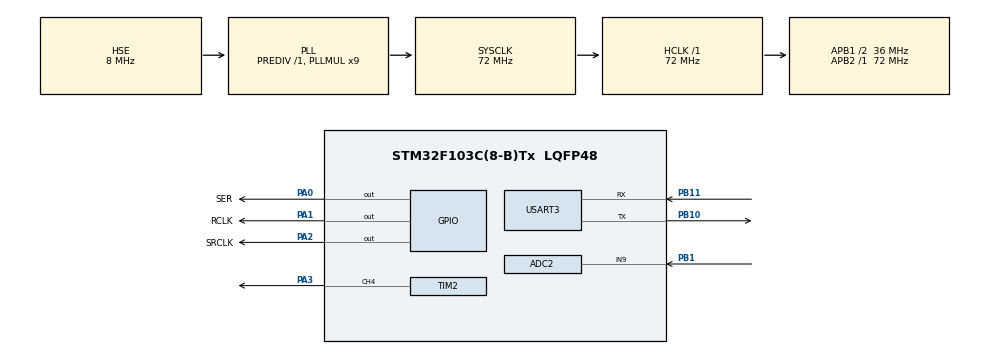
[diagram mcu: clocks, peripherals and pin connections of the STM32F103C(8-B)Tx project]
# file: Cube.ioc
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Mcu.Family=STM32F1
NVIC.USART3_IRQn=true\:0\:0\:false\:false\:true\:true\:true
RCC.PLLSourceVirtual=RCC_PLLSOURCE_HSE
NVIC.ADC1_2_IRQn=true\:0\:0\:false\:false\:true\:true\:true
ADC2.ExternalTrigConv=ADC_EXTERNALTRIGCONV_T3_TRGO
TIM2.Channel-PWM\ Generation4\ CH4=TIM_CHANNEL_4
PD1-OSC_OUT.Mode=HSE-External-Oscillator
PB10.Mode=Asynchronous
VP_ADC1_TempSens_Input.Mode=IN-TempSens
ADC1.ContinuousConvMode=DISABLE
ADC2.Rank-3\#ChannelRegularConversion=1
PD0-OSC_IN.Signal=RCC_OSC_IN
ADC2.EnableRegularConversion=ENABLE
RCC.APB1CLKDivider=RCC_HCLK_DIV2
PB11.Signal=USART3_RX
RCC.SYSCLKSource=RCC_SYSCLKSOURCE_PLLCLK
ProjectManager.StackSize=0x800
PA0-WKUP.GPIO_Label=SER
PA0-WKUP.Signal=GPIO_Output
PD1-OSC_OUT.Signal=RCC_OSC_OUT
RCC.ADCPresc=RCC_ADCPCLK2_DIV6
PA13.Signal=SYS_JTMS-SWDIO
PB11.Mode=Asynchronous
ProjectManager.TargetToolchain=STM32CubeIDE
RCC.HCLKFreq_Value=72000000
RCC.APB2TimFreq_Value=72000000
TIM3.Period=65000
ADC1.Channel-1\#ChannelRegularConversion=ADC_CHANNEL_TEMPSENSOR
RCC.USBFreq_Value=72000000
PA1.Signal=GPIO_Output
RCC.AHBFreq_Value=72000000
PD0-OSC_IN.Mode=HSE-External-Oscillator
PB10.Signal=USART3_TX
PB3.Mode=Trace_Asynchronous_SW
board=custom
RCC.PLLMUL=RCC_PLL_MUL9
NVIC.TIM3_IRQn=true\:0\:0\:false\:false\:true\:true\:true
RCC.APB2Freq_Value=72000000
VP_TIM2_VS_ClockSourceINT.Mode=Internal
PA14.Mode=Trace_Asynchronous_SW
TIM3.Prescaler=719
PA1.GPIO_Label=RCLK
ADC2.SamplingTime-3\#ChannelRegularConversion=ADC_SAMPLETIME_1CYCLE_5
TIM2.Period=4094
ADC1.NbrOfConversion=1
PA13.Mode=Trace_Asynchronous_SW
Mcu.Name=STM32F103C(8-B)Tx
PA2.Signal=GPIO_Output
ADC1.ExternalTrigConv=ADC_SOFTWARE_START
PB3.Signal=SYS_JTDO-TRACESWO
ADC1.SamplingTime-1\#ChannelRegularConversion=ADC_SAMPLETIME_1CYCLE_5
RCC.SYSCLKFreq_VALUE=72000000
Mcu.Package=LQFP48
TIM2.Prescaler=1
PB1.Signal=ADCx_IN9
ADC1.master=1
ADC2.NbrOfConversionFlag=1
USART3.VirtualMode=VM_ASYNC
ADC1.Rank-1\#ChannelRegularConversion=1
PA2.GPIO_Label=SRCLK
PA14.Signal=SYS_JTCK-SWCLK
ProjectManager.HeapSize=0x400
SH.S_TIM2_CH4.0=TIM2_CH4,PWM Generation4 CH4
SH.ADCx_IN9.0=ADC2_IN9,IN9
NVIC.PriorityGroup=NVIC_PRIORITYGROUP_4
ADC1.NbrOfConversionFlag=1
ADC1.EnableRegularConversion=ENABLE
RCC.APB1TimFreq_Value=72000000
TIM3.TIM_MasterOutputTrigger=TIM_TRGO_UPDATE
RCC.APB1Freq_Value=36000000
TIM2.OCMode_PWM-PWM\ Generation4\ CH4=TIM_OCMODE_PWM2
VP_TIM3_VS_ClockSourceINT.Mode=Internal
ADC2.Channel-3\#ChannelRegularConversion=ADC_CHANNEL_9
PA3.Signal=S_TIM2_CH4

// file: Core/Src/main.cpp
/* USER CODE BEGIN Header */
/**
  ******************************************************************************
  * @file           : main.c
  * @brief          : Main program body
  ******************************************************************************
  * @attention
  *
  * <h2><center>&copy; Copyright (c) 2020 STMicroelectronics.
  * All rights reserved.</center></h2>
  *
  * This software component is licensed by ST under BSD 3-Clause license,
  * the "License"; You may not use this file except in compliance with the
  * License. You may obtain a copy of the License at:
  *                        opensource.org/licenses/BSD-3-Clause
  *
  ******************************************************************************
  */
/* USER CODE END Header */
#include "main.h"

/* USER CODE BEGIN Includes */
#include <cstdio>
#include <cstdlib>
#include "string.h"
#include "Menu.h"
//#include "getRandomNumber.h"
/* USER CODE END Includes */

/* USER CODE BEGIN PTD */
typedef void (*menumode_t)();		//Тип указателя на функцию режима для меню
/* USER CODE END PTD */

ADC_HandleTypeDef hadc1;
ADC_HandleTypeDef hadc2;

TIM_HandleTypeDef htim2;
TIM_HandleTypeDef htim3;

UART_HandleTypeDef huart3;

/* USER CODE BEGIN PV */

Cube cube;

char str[100] = "EZ text";			//Строка для отладки

FlagUnion IsButtonPressed;
//[bit 16..9] | [bit 8] | [bit7] | [bit6] | [bit5] | [bit4] | [bit3] | [bit2] | [bit1] | [bit0]
//Reset State	   OK   	RR       RU       RL       RB       LR       LU       LL       LB
//                EXTI8    EXTI7    EXTI6    EXTI5    EXTI4    EXTI3    EXTI2    EXTI1   EXTI0

uint8_t ModeSwitchingFlag = 0;

menumode_t ModePTR = ChangingSpeed;
/* USER CODE END PV */

void SystemClock_Config(void);
static void MX_GPIO_Init(void);
static void MX_ADC1_Init(void);
static void MX_TIM3_Init(void);
static void MX_TIM2_Init(void);
static void MX_ADC2_Init(void);
static void MX_USART3_UART_Init(void);
/* USER CODE BEGIN PFP */
//int getRandomNumber(int min, int max); 		//протип функции для генерации случайных чисел
/* USER CODE END PFP */

/* USER CODE BEGIN 0 */
//void print(const char *ptr)			//Функция для отладки по SWO
//{
//  while(*ptr != '\0')
//  {
//    ITM_SendChar(*ptr);
//    ++ptr;
//  }
//}

void HAL_ADC_ConvCpltCallback(ADC_HandleTypeDef* hadc) 	//по окончании измерения вызывается функция обратного вызова
{
    if(hadc->Instance == ADC2) 				//Если прерывание пришло от ADC2
    {
							//преобразование не нужно, поскольку максимальные значения импульса и ацп равны
        TIM2 -> CCR4 = HAL_ADC_GetValue(&hadc2);	//Обращаемся к регистру CCRx, где x - номер канала таймера, для управления скавжностью
       // print("ADC2 callback\n")
    }
     if(hadc->Instance == ADC1)
    {
	srand(HAL_ADC_GetValue(&hadc1));		//по завершении считывания значения с температурного датчика (ADC1), устанавливаем seed ряда случайных чисел
	HAL_ADC_DeInit(&hadc1);																	//Отстреливаем ацп (из колбека этого же ацп, да, именно так)
							//тк нам нужно на ацп1 произвести всего 1 измерение
	//print("ADC1 callback\n");

    }
}//Останавливать АЦП не нужно, поскольку не включен режим циклического измерения

void HAL_UART_RxCpltCallback(UART_HandleTypeDef *huart)
{
		//Приведение полученных данных к более удобному формату
		//Обнулять ничего не нужно поскольку если сделать это тут,
		//то есть вероятность того, что флаг опустится до его обработки
//    IsButtonPressedRx |= IsButtonPressedRxBuff[0] << 8;
//    IsButtonPressedRx |= IsButtonPressedRxBuff[1];
    if(huart == &huart3)
    {
	    uint8_t TxVar = cube.getMode();
	    HAL_UART_Transmit(&huart3, &TxVar, 1, 1000);
	    HAL_UART_Receive_IT(&huart3, IsButtonPressed.IsButtonPressedRxBuff, 2);
    }

}
/* USER CODE END 0 */

int main(void)
{

  /* MCU Configuration--------------------------------------------------------*/

  /* Reset of all peripherals, Initializes the Flash interface and the Systick. */
  HAL_Init();

  /* Configure the system clock */
  SystemClock_Config();

  /* Initialize all configured peripherals */
  MX_GPIO_Init();
  MX_ADC1_Init();
  MX_TIM3_Init();
  MX_TIM2_Init();
  MX_ADC2_Init();
  MX_USART3_UART_Init();
  /* USER CODE BEGIN 2 */
//  print(str);
//калибровка и запуск прерывания ацп
  HAL_TIM_Base_Start(&htim3);
  HAL_TIM_PWM_Start_IT(&htim2, TIM_CHANNEL_4);
  HAL_ADCEx_Calibration_Start(&hadc2);
  HAL_ADC_Start_IT(&hadc2);

  HAL_ADC_Start_IT(&hadc1);
  TIM3->EGR = TIM_EGR_UG;
  HAL_UART_Receive_IT(&huart3, IsButtonPressed.IsButtonPressedRxBuff, 2);

  cube.setTextString(str, strlen(str));
  /* USER CODE END 2 */

  /* Infinite loop */
  /* USER CODE BEGIN WHILE */
  while (1)
  {
      if ((IsButtonPressed.IsButtonPressedRx >> OK) & 1)
      {
	  IsButtonPressed.IsButtonPressedRx &= ~(1 << OK);
	  ModeSwitchingFlag ^= 1;
	  ModePTR = ModeSwitchingFlag ? SwitchingModes : ChangingSpeed;
	  cube.changeMode(); //TODO: в следующих версиях переработать переключение режимов
      }
      ModePTR();

      (cube.*cube.m_currentModePtr)(); //вызов метода через указатель
      cube.printFrame();

    /* USER CODE END WHILE */

  }
}

void SystemClock_Config(void)
{
  RCC_OscInitTypeDef RCC_OscInitStruct = {0};
  RCC_ClkInitTypeDef RCC_ClkInitStruct = {0};
  RCC_PeriphCLKInitTypeDef PeriphClkInit = {0};

  /** Initializes the RCC Oscillators according to the specified parameters
  * in the RCC_OscInitTypeDef structure.
  */
  RCC_OscInitStruct.OscillatorType = RCC_OSCILLATORTYPE_HSE;
  RCC_OscInitStruct.HSEState = RCC_HSE_ON;
  RCC_OscInitStruct.HSEPredivValue = RCC_HSE_PREDIV_DIV1;
  RCC_OscInitStruct.HSIState = RCC_HSI_ON;
  RCC_OscInitStruct.PLL.PLLState = RCC_PLL_ON;
  RCC_OscInitStruct.PLL.PLLSource = RCC_PLLSOURCE_HSE;
  RCC_OscInitStruct.PLL.PLLMUL = RCC_PLL_MUL9;
  if (HAL_RCC_OscConfig(&RCC_OscInitStruct) != HAL_OK)
  {
    Error_Handler();
  }
  /** Initializes the CPU, AHB and APB buses clocks
  */
  RCC_ClkInitStruct.ClockType = RCC_CLOCKTYPE_HCLK|RCC_CLOCKTYPE_SYSCLK
                              |RCC_CLOCKTYPE_PCLK1|RCC_CLOCKTYPE_PCLK2;
  RCC_ClkInitStruct.SYSCLKSource = RCC_SYSCLKSOURCE_PLLCLK;
  RCC_ClkInitStruct.AHBCLKDivider = RCC_SYSCLK_DIV1;
  RCC_ClkInitStruct.APB1CLKDivider = RCC_HCLK_DIV2;
  RCC_ClkInitStruct.APB2CLKDivider = RCC_HCLK_DIV1;

  if (HAL_RCC_ClockConfig(&RCC_ClkInitStruct, FLASH_LATENCY_2) != HAL_OK)
  {
    Error_Handler();
  }
  PeriphClkInit.PeriphClockSelection = RCC_PERIPHCLK_ADC;
  PeriphClkInit.AdcClockSelection = RCC_ADCPCLK2_DIV6;
  if (HAL_RCCEx_PeriphCLKConfig(&PeriphClkInit) != HAL_OK)
  {
    Error_Handler();
  }
}

static void MX_ADC1_Init(void)
{

  ADC_ChannelConfTypeDef sConfig = {0};

  /** Common config
  */
  hadc1.Instance = ADC1;
  hadc1.Init.ScanConvMode = ADC_SCAN_DISABLE;
  hadc1.Init.ContinuousConvMode = DISABLE;
  hadc1.Init.DiscontinuousConvMode = DISABLE;
  hadc1.Init.ExternalTrigConv = ADC_SOFTWARE_START;
  hadc1.Init.DataAlign = ADC_DATAALIGN_RIGHT;
  hadc1.Init.NbrOfConversion = 1;
  if (HAL_ADC_Init(&hadc1) != HAL_OK)
  {
    Error_Handler();
  }
  /** Configure Regular Channel
  */
  sConfig.Channel = ADC_CHANNEL_TEMPSENSOR;
  sConfig.Rank = ADC_REGULAR_RANK_1;
  sConfig.SamplingTime = ADC_SAMPLETIME_1CYCLE_5;
  if (HAL_ADC_ConfigChannel(&hadc1, &sConfig) != HAL_OK)
  {
    Error_Handler();
  }

}

static void MX_ADC2_Init(void)
{

  ADC_ChannelConfTypeDef sConfig = {0};

  /** Common config
  */
  hadc2.Instance = ADC2;
  hadc2.Init.ScanConvMode = ADC_SCAN_DISABLE;
  hadc2.Init.ContinuousConvMode = DISABLE;
  hadc2.Init.DiscontinuousConvMode = DISABLE;
  hadc2.Init.ExternalTrigConv = ADC_EXTERNALTRIGCONV_T3_TRGO;
  hadc2.Init.DataAlign = ADC_DATAALIGN_RIGHT;
  hadc2.Init.NbrOfConversion = 1;
  if (HAL_ADC_Init(&hadc2) != HAL_OK)
  {
    Error_Handler();
  }
  /** Configure Regular Channel
  */
  sConfig.Channel = ADC_CHANNEL_9;
  sConfig.Rank = ADC_REGULAR_RANK_1;
  sConfig.SamplingTime = ADC_SAMPLETIME_1CYCLE_5;
  if (HAL_ADC_ConfigChannel(&hadc2, &sConfig) != HAL_OK)
  {
    Error_Handler();
  }

}

static void MX_TIM2_Init(void)
{

  TIM_ClockConfigTypeDef sClockSourceConfig = {0};
  TIM_MasterConfigTypeDef sMasterConfig = {0};
  TIM_OC_InitTypeDef sConfigOC = {0};

  htim2.Instance = TIM2;
  htim2.Init.Prescaler = 1;
  htim2.Init.CounterMode = TIM_COUNTERMODE_UP;
  htim2.Init.Period = 4094;
  htim2.Init.ClockDivision = TIM_CLOCKDIVISION_DIV1;
  htim2.Init.AutoReloadPreload = TIM_AUTORELOAD_PRELOAD_DISABLE;
  if (HAL_TIM_Base_Init(&htim2) != HAL_OK)
  {
    Error_Handler();
  }
  sClockSourceConfig.ClockSource = TIM_CLOCKSOURCE_INTERNAL;
  if (HAL_TIM_ConfigClockSource(&htim2, &sClockSourceConfig) != HAL_OK)
  {
    Error_Handler();
  }
  if (HAL_TIM_PWM_Init(&htim2) != HAL_OK)
  {
    Error_Handler();
  }
  sMasterConfig.MasterOutputTrigger = TIM_TRGO_RESET;
  sMasterConfig.MasterSlaveMode = TIM_MASTERSLAVEMODE_DISABLE;
  if (HAL_TIMEx_MasterConfigSynchronization(&htim2, &sMasterConfig) != HAL_OK)
  {
    Error_Handler();
  }
  sConfigOC.OCMode = TIM_OCMODE_PWM2;
  sConfigOC.Pulse = 0;
  sConfigOC.OCPolarity = TIM_OCPOLARITY_HIGH;
  sConfigOC.OCFastMode = TIM_OCFAST_DISABLE;
  if (HAL_TIM_PWM_ConfigChannel(&htim2, &sConfigOC, TIM_CHANNEL_4) != HAL_OK)
  {
    Error_Handler();
  }
  HAL_TIM_MspPostInit(&htim2);

}

static void MX_TIM3_Init(void)
{

  TIM_ClockConfigTypeDef sClockSourceConfig = {0};
  TIM_MasterConfigTypeDef sMasterConfig = {0};

  htim3.Instance = TIM3;
  htim3.Init.Prescaler = 719;
  htim3.Init.CounterMode = TIM_COUNTERMODE_UP;
  htim3.Init.Period = 65000;
  htim3.Init.ClockDivision = TIM_CLOCKDIVISION_DIV1;
  htim3.Init.AutoReloadPreload = TIM_AUTORELOAD_PRELOAD_DISABLE;
  if (HAL_TIM_Base_Init(&htim3) != HAL_OK)
  {
    Error_Handler();
  }
  sClockSourceConfig.ClockSource = TIM_CLOCKSOURCE_INTERNAL;
  if (HAL_TIM_ConfigClockSource(&htim3, &sClockSourceConfig) != HAL_OK)
  {
    Error_Handler();
  }
  sMasterConfig.MasterOutputTrigger = TIM_TRGO_UPDATE;
  sMasterConfig.MasterSlaveMode = TIM_MASTERSLAVEMODE_DISABLE;
  if (HAL_TIMEx_MasterConfigSynchronization(&htim3, &sMasterConfig) != HAL_OK)
  {
    Error_Handler();
  }

}

static void MX_USART3_UART_Init(void)
{

  huart3.Instance = USART3;
  huart3.Init.BaudRate = 115200;
  huart3.Init.WordLength = UART_WORDLENGTH_8B;
  huart3.Init.StopBits = UART_STOPBITS_1;
  huart3.Init.Parity = UART_PARITY_NONE;
  huart3.Init.Mode = UART_MODE_TX_RX;
  huart3.Init.HwFlowCtl = UART_HWCONTROL_NONE;
  huart3.Init.OverSampling = UART_OVERSAMPLING_16;
  if (HAL_UART_Init(&huart3) != HAL_OK)
  {
    Error_Handler();
  }

}

static void MX_GPIO_Init(void)
{
  GPIO_InitTypeDef GPIO_InitStruct = {0};

  /* GPIO Ports Clock Enable */
  __HAL_RCC_GPIOD_CLK_ENABLE();
  __HAL_RCC_GPIOA_CLK_ENABLE();
  __HAL_RCC_GPIOB_CLK_ENABLE();

  /*Configure GPIO pin Output Level */
  HAL_GPIO_WritePin(GPIOA, SER_Pin|RCLK_Pin|SRCLK_Pin, GPIO_PIN_RESET);

  /*Configure GPIO pins : SER_Pin RCLK_Pin SRCLK_Pin */
  GPIO_InitStruct.Pin = SER_Pin|RCLK_Pin|SRCLK_Pin;
  GPIO_InitStruct.Mode = GPIO_MODE_OUTPUT_PP;
  GPIO_InitStruct.Pull = GPIO_NOPULL;
  GPIO_InitStruct.Speed = GPIO_SPEED_FREQ_LOW;
  HAL_GPIO_Init(GPIOA, &GPIO_InitStruct);

}

void Error_Handler(void)
{
}

/************************ (C) COPYRIGHT STMicroelectronics *****END OF FILE****/
